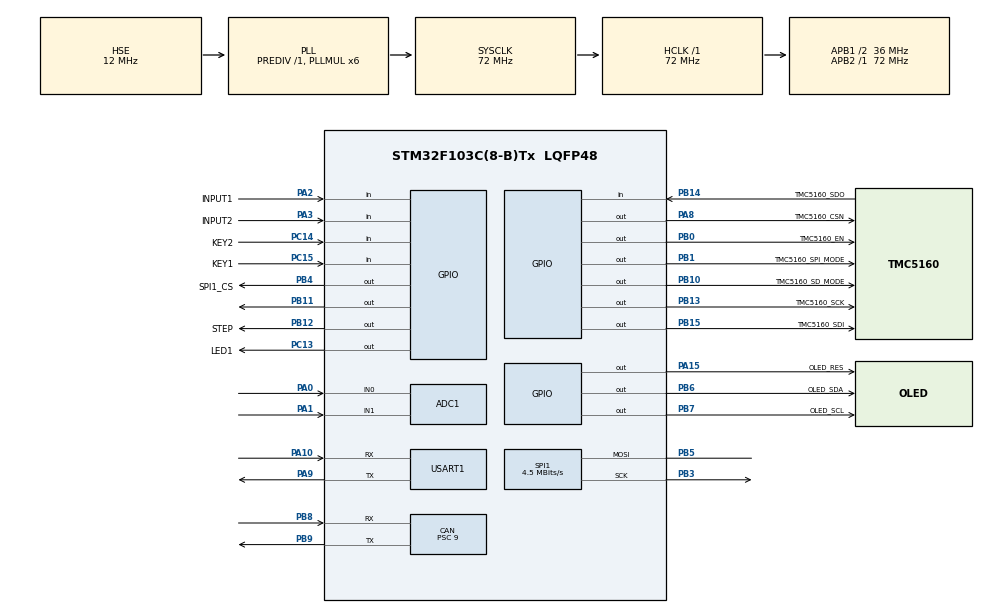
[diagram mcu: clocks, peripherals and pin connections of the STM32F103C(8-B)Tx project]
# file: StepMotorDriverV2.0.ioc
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ADC1.Channel-0\#ChannelRegularConversion=ADC_CHANNEL_0
ADC1.NbrOfConversionFlag=1
ADC1.Rank-0\#ChannelRegularConversion=1
ADC1.SamplingTime-0\#ChannelRegularConversion=ADC_SAMPLETIME_1CYCLE_5
ADC1.master=1
CAN.ABOM=ENABLE
CAN.AWUM=ENABLE
CAN.BS1=CAN_BS1_2TQ
CAN.CalculateBaudRate=1000000
CAN.CalculateTimeBit=1000.00
CAN.CalculateTimeQuantum=250.0
CAN.Prescaler=9
Mcu.Family=STM32F1
Mcu.Name=STM32F103C(8-B)Tx
Mcu.Package=LQFP48
NVIC.CAN1_RX1_IRQn=true\:0\:0\:false\:false\:true\:true\:true
NVIC.PriorityGroup=NVIC_PRIORITYGROUP_4
NVIC.TIM4_IRQn=true\:0\:0\:false\:false\:true\:true\:true
NVIC.USB_LP_CAN1_RX0_IRQn=true\:0\:0\:false\:false\:true\:true\:true
PA0-WKUP.Signal=ADCx_IN0
PA1.Signal=ADCx_IN1
PA10.Mode=Asynchronous
PA10.Signal=USART1_RX
PA11.Signal=USB_DM
PA12.Signal=USB_DP
PA13.Mode=Serial_Wire
PA13.Signal=SYS_JTMS-SWDIO
PA14.Mode=Serial_Wire
PA14.Signal=SYS_JTCK-SWCLK
PA15.GPIO_Label=OLED_RES
PA15.GPIO_PuPd=GPIO_PULLUP
PA15.Signal=GPIO_Output
PA2.GPIO_Label=INPUT1
PA2.GPIO_PuPd=GPIO_PULLUP
PA2.Signal=GPIO_Input
PA3.GPIO_Label=INPUT2
PA3.GPIO_PuPd=GPIO_PULLUP
PA3.Signal=GPIO_Input
PA8.GPIO_Label=TMC5160_CSN
PA8.Signal=GPIO_Output
PA9.Mode=Asynchronous
PA9.Signal=USART1_TX
PB0.GPIO_Label=TMC5160_EN
PB0.Signal=GPIO_Output
PB1.GPIO_Label=TMC5160_SPI_MODE
PB1.Signal=GPIO_Output
PB10.GPIO_Label=TMC5160_SD_MODE
PB10.Signal=GPIO_Output
PB11.Signal=GPIO_Output
PB12.GPIO_Label=STEP
PB12.Signal=GPIO_Output
PB13.GPIO_Label=TMC5160_SCK
PB13.PinState=GPIO_PIN_SET
PB13.Signal=GPIO_Output
PB14.GPIO_Label=TMC5160_SDO
PB14.Signal=GPIO_Input
PB15.GPIO_Label=TMC5160_SDI
PB15.Signal=GPIO_Output
PB3.Mode=Simplex_Bidirectional_Master
PB3.Signal=SPI1_SCK
PB4.GPIO_Label=SPI1_CS
PB4.Signal=GPIO_Output
PB5.Mode=Simplex_Bidirectional_Master
PB5.Signal=SPI1_MOSI
PB6.GPIO_Label=OLED_SDA
PB6.GPIO_ModeDefaultOutputPP=GPIO_MODE_OUTPUT_OD
PB6.GPIO_PuPd=GPIO_PULLUP
PB6.PinState=GPIO_PIN_RESET
PB6.Signal=GPIO_Output
PB7.GPIO_Label=OLED_SCL
PB7.GPIO_ModeDefaultOutputPP=GPIO_MODE_OUTPUT_OD
PB7.GPIO_PuPd=GPIO_PULLUP
PB7.PinState=GPIO_PIN_RESET
PB7.Signal=GPIO_Output
PB8.Mode=CAN_Activate
PB8.Signal=CAN_RX
PB9.Mode=CAN_Activate
PB9.Signal=CAN_TX
PC13-TAMPER-RTC.GPIO_Label=LED1
PC13-TAMPER-RTC.Signal=GPIO_Output
PC14-OSC32_IN.GPIO_Label=KEY2
PC14-OSC32_IN.GPIO_PuPd=GPIO_PULLUP
PC14-OSC32_IN.Signal=GPIO_Input
PC15-OSC32_OUT.GPIO_Label=KEY1
PC15-OSC32_OUT.GPIO_PuPd=GPIO_PULLUP
PC15-OSC32_OUT.Signal=GPIO_Input
PD0-OSC_IN.Mode=HSE-External-Oscillator
PD0-OSC_IN.Signal=RCC_OSC_IN
PD1-OSC_OUT.Mode=HSE-External-Oscillator
PD1-OSC_OUT.Signal=RCC_OSC_OUT
ProjectManager.HeapSize=0x200
ProjectManager.StackSize=0x400
ProjectManager.TargetToolchain=MDK-ARM V5
RCC.ADCPresc=RCC_ADCPCLK2_DIV6
RCC.AHBFreq_Value=72000000
RCC.APB1CLKDivider=RCC_HCLK_DIV2
RCC.APB1Freq_Value=36000000
RCC.APB1TimFreq_Value=72000000
RCC.APB2Freq_Value=72000000
RCC.APB2TimFreq_Value=72000000
RCC.HCLKFreq_Value=72000000
RCC.HSE_VALUE=12000000
RCC.PLLMUL=RCC_PLL_MUL6
RCC.PLLSourceVirtual=RCC_PLLSOURCE_HSE
RCC.SYSCLKFreq_VALUE=72000000
RCC.SYSCLKSource=RCC_SYSCLKSOURCE_PLLCLK
RCC.USBFreq_Value=48000000
RCC.USBPrescaler=RCC_USBCLKSOURCE_PLL_DIV1_5
SH.ADCx_IN0.0=ADC1_IN0,IN0
SH.ADCx_IN1.0=ADC1_IN1,IN1
SPI1.BaudRatePrescaler=SPI_BAUDRATEPRESCALER_16
SPI1.CLKPhase=SPI_PHASE_2EDGE
SPI1.CalculateBaudRate=4.5 MBits/s
SPI1.DataSize=SPI_DATASIZE_16BIT
SPI1.Direction=SPI_DIRECTION_1LINE
SPI1.Mode=SPI_MODE_MASTER
SPI1.VirtualType=VM_MASTER
TIM4.AutoReloadPreload=TIM_AUTORELOAD_PRELOAD_ENABLE
TIM4.Period=1000-1
TIM4.Prescaler=72-1
USART1.VirtualMode=VM_ASYNC
VP_TIM4_VS_ClockSourceINT.Mode=Internal
board=custom

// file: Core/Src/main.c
/* USER CODE BEGIN Header */
/**
  ******************************************************************************
  * @file           : main.c
  * @brief          : Main program body
  ******************************************************************************
  * @attention
  *
  * <h2><center>&copy; Copyright (c) 2022 STMicroelectronics.
  * All rights reserved.</center></h2>
  *
  * This software component is licensed by ST under BSD 3-Clause license,
  * the "License"; You may not use this file except in compliance with the
  * License. You may obtain a copy of the License at:
  *                        opensource.org/licenses/BSD-3-Clause
  *
  ******************************************************************************
  */
/* USER CODE END Header */
#include "main.h"

/* USER CODE BEGIN Includes */
#include "oled_driver.h"
#include "oled_config.h"
#include "oled_basic.h"
#include "oled_font.h"
#include "oled_draw.h"
#include "test.h"
#include "TMC5160_Register.h"
#include "TMC5160_Mask_Shift.h"
#include "SPI_TMC.h"
#include "TMC5160.h"
#include "multi_button.h"
/* USER CODE END Includes */

/* USER CODE BEGIN PTD */
#define CAN_ID                  0x123
#define DEVICE_ID               0x01
#define GEAR                    1
#define RAD_TO_PUl              8153
typedef enum
{
    fsm_rt_err          = -1,    //!< fsm error, error code can be get from other interface
    fsm_rt_cpl          = 0,     //!< fsm complete
    fsm_rt_on_going     = 1,     //!< fsm on-going
} fsm_rt_t;

typedef struct
{
    uint16_t		State;    	//0stop   1speed   2 position
    int32_t			Speed;
    int32_t  		Position;
    uint16_t		Gear;
    int32_t         Torque;
} MotorControl_TypDef;

typedef struct
{
    float		Kp;
    float		Ki;
    float  	Kd;
		uint32_t Target;
		uint32_t Input;
    int32_t Err;
    float ErrLimit_Max;
    int32_t ErrNext;
    float ErrLast;
    float IntegralValue;
    int32_t ResultValue;
    int32_t ResultLimit_Max;
    int32_t ResultLimit_Min;
		int32_t ZeroThreshold;
		int32_t ResultUpLimit;
		int32_t ResultLast;
} Pid_TypDef;

typedef struct
{
    int16_t		Max;
    int16_t		Min;
} Limit_TypDef;

typedef union
{
    uint8_t  	U8[80];
    uint16_t 	U16[40];
    int16_t 	I16[40];
    uint32_t 	U32[20];
    int32_t 	I32[20];
    double  	D64[10];
    uint64_t  U64[10];
} Register_TypDef;
#define SPI_CS_HIGH_SIDE_ENCODER_ENABLE()  			HAL_GPIO_WritePin(SPI1_CS_GPIO_Port, SPI1_CS_Pin, GPIO_PIN_RESET);
#define SPI_CS_HIGH_SIDE_ENCODER_DISABLE() 			HAL_GPIO_WritePin(SPI1_CS_GPIO_Port, SPI1_CS_Pin, GPIO_PIN_SET);
/* USER CODE END PTD */

/* USER CODE BEGIN PD */

#define RESET_FSM()             do { s_tState = START; } while(0)
#define FALSE 			        0
#define TRUE 				    1
#define ABS(__N)                ((__N)<0?-(__N):(__N))
#define OLED_STOP               do { HAL_GPIO_WritePin(OLED_RES_GPIO_Port, OLED_RES_Pin, GPIO_PIN_RESET); } while(0)
#define OLED_START()            do { HAL_GPIO_WritePin(OLED_RES_GPIO_Port, OLED_RES_Pin, GPIO_PIN_SET); } while(0)

/* USER CODE END PD */

ADC_HandleTypeDef hadc1;

CAN_HandleTypeDef hcan;

SPI_HandleTypeDef hspi1;

TIM_HandleTypeDef htim4;

UART_HandleTypeDef huart1;

/* USER CODE BEGIN PV */
uint16_t g_bTime_1ms = 0;
uint16_t g_bTime_5ms = 0;
uint16_t g_bTime_100ms = 0;
uint16_t g_bTime_500ms = 0;
uint16_t g_bTime_1s;
uint16_t g_bFindZero = 0;

uint16_t g_Time_ms = 0;
uint16_t g_bInput[2] = {0};
uint16_t g_bKey[2] = {0};
//uint16_t g_AngleHighSide_New = 0;
uint16_t g_AngleHighSide_Old = 0;
int16_t g_Speed[8];

//new add-----
uint16_t g_AngleHighSide_Circle = 1000;
uint16_t g_AngleHighSide_New = 16000;
int16_t g_AngleHighSide_Threshold = 1000;
int32_t g_AngleHighSide_All;
int16_t g_MotorID;
uint32_t g_CanResiveNum = 0;
int8_t g_SpeedMod = 0;
int16_t g_SpeedRecord = 0;
//------------

uint16_t g_CANRxFlag = 0;
CAN_TxHeaderTypeDef TXHeader;
CAN_RxHeaderTypeDef RXHeader;

uint8_t TXmessage[8] = {0x00, 0x11, 0x22, 0x33, 0x44, 0x55, 0x66, 0x77};
uint8_t RXmessage[8];
uint8_t MotorErr;
uint32_t pTxMailbox = 0;
uint32_t g_TMC5160_XACTUAL;
uint32_t g_TMC5160_VACTUAL;

uint32_t addr = 0x08008000;

Register_TypDef g_RxData = {0};
Register_TypDef g_Register = {0};
Pid_TypDef P_PID;
Pid_TypDef V_PID;
Pid_TypDef C_PID;

Limit_TypDef P_LIMIT;
Limit_TypDef V_LIMIT;
Limit_TypDef C_LIMIT;

MotorControl_TypDef g_MotorControlRegister = {0,0,0,14};

int Sfl_temp1, Sfl_temp2;
int32_t Sfl_temp3 = 0;

enum Button_IDs
{
    btn1_id,
    btn2_id,
};
struct Button btn1;
struct Button btn2;
/* USER CODE END PV */

void SystemClock_Config(void);
static void MX_GPIO_Init(void);
static void MX_ADC1_Init(void);
static void MX_CAN_Init(void);
static void MX_USART1_UART_Init(void);
static void MX_TIM4_Init(void);
static void MX_SPI1_Init(void);
/* USER CODE BEGIN PFP */
void Task_CAN(void);
void Task_Control(void);
void Task_OLED(void);
void Task_Key(void);
void Task_FindZero(void);
void Task_Detection(void);
uint8_t read_button_GPIO(uint8_t button_id);
void BTN1_PRESS_DOWN_Handler(void* btn);
void BTN1_PRESS_UP_Handler(void* btn);
void BTN1_PRESS_REPEAT_Handler(void* btn);
void BTN1_SINGLE_Click_Handler(void* btn);
void BTN1_DOUBLE_Click_Handler(void* btn);
void BTN1_LONG_PRESS_START_Handler(void* btn);
void BTN1_LONG_PRESS_HOLD_Handler(void* btn);

void BTN2_PRESS_DOWN_Handler(void* btn);
void BTN2_PRESS_UP_Handler(void* btn);
void BTN2_PRESS_REPEAT_Handler(void* btn);
void BTN2_SINGLE_Click_Handler(void* btn);
void BTN2_DOUBLE_Click_Handler(void* btn);
void BTN2_LONG_PRESS_START_Handler(void* btn);
void BTN2_LONG_PRESS_HOLD_Handler(void* btn);

void ReadEncoder_SPI_HighSide(void);

//new add-----
void P_PID_Init(void);
int32_t Rad2Motor(float Rad);
float Motor2Rad(int32_t motor);
//------------

//void BTN2_PRESS_DOWN_Handler(void* btn)
/* USER CODE END PFP */

int testNum1 = 0;
int testNum2 = 0;
int main(void)
{

    /* MCU Configuration--------------------------------------------------------*/

    /* Reset of all peripherals, Initializes the Flash interface and the Systick. */
    HAL_Init();

    /* Configure the system clock */
    SystemClock_Config();

    /* Initialize all configured peripherals */
    MX_GPIO_Init();
    MX_ADC1_Init();
    MX_CAN_Init();
    MX_USART1_UART_Init();
    MX_TIM4_Init();
    MX_SPI1_Init();
    /* USER CODE BEGIN 2 */
    HAL_TIM_Base_Start_IT(&htim4);
    /* USER CODE END 2 */

    /* Infinite loop */
    /* USER CODE BEGIN WHILE */
    OLED_START();

    HAL_Delay(100);
    InitGraph();
    HAL_Delay(100);

    HAL_GPIO_WritePin(TMC5160_SPI_MODE_GPIO_Port, TMC5160_SPI_MODE_Pin, GPIO_PIN_SET);
    HAL_GPIO_WritePin(TMC5160_SD_MODE_GPIO_Port, TMC5160_SD_MODE_Pin, GPIO_PIN_RESET);
    HAL_Delay(100);
    HAL_GPIO_WritePin(TMC5160_EN_GPIO_Port, TMC5160_EN_Pin, GPIO_PIN_RESET);
    HAL_Delay(100);

//    MotorTmc5160[motor1].Axis.speed = 5; //尽量设置不要超过12

//	tmc5160_SetPara(&MotorTmc5160[motor1],256,4,10,\
//	5,0,0,10000,MotorTmc5160[motor1].Axis.speed,\
//	10000,500,10,motor1);
//	tmc5160_InitConfig(&MotorTmc5160[motor1],motor1);

    tmc_spi_writeregister(motor1, 0xEC - 0x80, 0x000100C3);
    tmc_spi_writeregister(motor1, 0x90 - 0x80, 0x00060C0A);
    tmc_spi_writeregister(motor1, 0x91 - 0x80, 0x0000000A);
    tmc_spi_writeregister(motor1, 0x80 - 0x80, 0x00000004);
    tmc_spi_writeregister(motor1, 0x93 - 0x80, 0x000001A4);    //tmc_spi_writeregister(motor1, 0x93 - 0x80, 0x000001F4);

    tmc_spi_writeregister(motor1, 0xA4 - 0x80, 1000 ); 			//A1
    tmc_spi_writeregister(motor1, 0xA5 - 0x80, 0    ); 			//V1
    tmc_spi_writeregister(motor1, 0xA6 - 0x80, 30000 ); 			//AMAX
    tmc_spi_writeregister(motor1, 0xA7 - 0x80, 0    ); 	    	//VMAX
    tmc_spi_writeregister(motor1, 0xA8 - 0x80, 30000 ); 			//DMAX
    tmc_spi_writeregister(motor1, 0xAA - 0x80, 1400 ); 			//D1
    tmc_spi_writeregister(motor1, 0xAB - 0x80, 10   ); 			//VSTOP
//tmc_spi_writeregister(motor1,0xA0-0x80,0x00000000); 			//位置模式
    tmc_spi_writeregister(motor1, 0xA0 - 0x80, 0x00000001);     //速度模式

    tmc_spi_writeregister(motor1,TMC5160_XACTUAL,0x00000000);
//////////CAN//////////////
    CAN_FilterTypeDef can_Filter = {0};

    can_Filter.FilterIdHigh = 0;
    can_Filter.FilterIdLow = 0;
    can_Filter.FilterMaskIdHigh = 0;
    can_Filter.FilterMaskIdLow = 0;
    can_Filter.FilterFIFOAssignment = CAN_FILTER_FIFO0;
    can_Filter.FilterBank = 0;
    can_Filter.FilterMode = CAN_FILTERMODE_IDMASK;
    can_Filter.FilterScale = CAN_FILTERSCALE_32BIT;
    can_Filter.FilterActivation = CAN_FILTER_ENABLE;
    HAL_CAN_ConfigFilter(&hcan, &can_Filter);
    HAL_CAN_ActivateNotification(&hcan, CAN_IT_RX_FIFO0_MSG_PENDING);
    HAL_CAN_Start(&hcan);
/////////////////////////////////////////////////////////////////////

    button_init(&btn1, read_button_GPIO, 0, btn1_id);
    button_init(&btn2, read_button_GPIO, 0, btn2_id);

    button_attach(&btn1, PRESS_DOWN,       BTN1_PRESS_DOWN_Handler);
    button_attach(&btn1, PRESS_UP,         BTN1_PRESS_UP_Handler);
    button_attach(&btn1, PRESS_REPEAT,     BTN1_PRESS_REPEAT_Handler);
    button_attach(&btn1, SINGLE_CLICK,     BTN1_SINGLE_Click_Handler);
    button_attach(&btn1, DOUBLE_CLICK,     BTN1_DOUBLE_Click_Handler);
    button_attach(&btn1, LONG_PRESS_START, BTN1_LONG_PRESS_START_Handler);
    button_attach(&btn1, LONG_PRESS_HOLD,  BTN1_LONG_PRESS_HOLD_Handler);

    button_attach(&btn2, PRESS_DOWN,       BTN2_PRESS_DOWN_Handler);
    button_attach(&btn2, PRESS_UP,         BTN2_PRESS_UP_Handler);
    button_attach(&btn2, PRESS_REPEAT,     BTN2_PRESS_REPEAT_Handler);
    button_attach(&btn2, SINGLE_CLICK,     BTN2_SINGLE_Click_Handler);
    button_attach(&btn2, DOUBLE_CLICK,     BTN2_DOUBLE_Click_Handler);
    button_attach(&btn2, LONG_PRESS_START, BTN2_LONG_PRESS_START_Handler);
    button_attach(&btn2, LONG_PRESS_HOLD,  BTN2_LONG_PRESS_HOLD_Handler);

    button_start(&btn1);
    button_start(&btn2);
//    g_MotorControlRegister.Speed = 200000;
//////////////////////////////////////////////////////////////////////

//    HAL_Delay(DEVICE_ID * 1000);
		g_MotorID = 7;
		P_PID_Init();
//		P_PID.Target = g_AngleHighSide_All+100000;
		P_PID.Target = g_AngleHighSide_All;
//		g_MotorControlRegister.State = 1;
//		g_MotorControlRegister.Speed = 300000;
//		tmc_spi_writeregister(motor1, 0xA7 - 0x80, 10000); //VMAX
//    tmc_spi_writeregister(motor1, 0xA0 - 0x80, 2); //速度模式

    while (1)
    {
        if(g_bTime_1ms == 1)
        {
           g_bTime_1ms = 0;

//					TXmessage[0] = 0x43;
//					TXmessage[1] = 0x71;
//					TXmessage[2] = 0x60;
//					TXmessage[3] = 0x00;

//					TXmessage[4] = 01;

//					TXmessage[5] = 00;
//					TXmessage[6] = 00;
//					TXmessage[7] = 00;
//					TXHeader.StdId = 0X580 + g_MotorID;

//					TXHeader.DLC = 8;
//					TXHeader.IDE = CAN_ID_STD;
//					TXHeader.RTR = CAN_RTR_DATA;
//					TXHeader.TransmitGlobalTime = DISABLE;
//					HAL_CAN_AddTxMessage(&hcan,&TXHeader,TXmessage,&pTxMailbox);

          ReadEncoder_SPI_HighSide();

            Task_CAN();

            Task_Control();

            g_TMC5160_XACTUAL = tmc_spi_readregister(motor1,TMC5160_XACTUAL);
//		HAL_Delay(2000);
//
//		g_MotorControlRegister.State = 2;
//		g_MotorControlRegister.Position = -151200;
//
//            Task_Control();
//						 Task_Control();

//		HAL_Delay(2000);

        }
    }

    /* USER CODE END 3 */
}

void SystemClock_Config(void)
{
    RCC_OscInitTypeDef RCC_OscInitStruct = {0};
    RCC_ClkInitTypeDef RCC_ClkInitStruct = {0};
    RCC_PeriphCLKInitTypeDef PeriphClkInit = {0};

    /** Initializes the RCC Oscillators according to the specified parameters
    * in the RCC_OscInitTypeDef structure.
    */
    RCC_OscInitStruct.OscillatorType = RCC_OSCILLATORTYPE_HSE;
    RCC_OscInitStruct.HSEState = RCC_HSE_ON;
    RCC_OscInitStruct.HSEPredivValue = RCC_HSE_PREDIV_DIV1;
    RCC_OscInitStruct.HSIState = RCC_HSI_ON;
    RCC_OscInitStruct.PLL.PLLState = RCC_PLL_ON;
    RCC_OscInitStruct.PLL.PLLSource = RCC_PLLSOURCE_HSE;
    RCC_OscInitStruct.PLL.PLLMUL = RCC_PLL_MUL6;
    if (HAL_RCC_OscConfig(&RCC_OscInitStruct) != HAL_OK)
    {
        Error_Handler();
    }
    /** Initializes the CPU, AHB and APB buses clocks
    */
    RCC_ClkInitStruct.ClockType = RCC_CLOCKTYPE_HCLK|RCC_CLOCKTYPE_SYSCLK
                                  |RCC_CLOCKTYPE_PCLK1|RCC_CLOCKTYPE_PCLK2;
    RCC_ClkInitStruct.SYSCLKSource = RCC_SYSCLKSOURCE_PLLCLK;
    RCC_ClkInitStruct.AHBCLKDivider = RCC_SYSCLK_DIV1;
    RCC_ClkInitStruct.APB1CLKDivider = RCC_HCLK_DIV2;
    RCC_ClkInitStruct.APB2CLKDivider = RCC_HCLK_DIV1;

    if (HAL_RCC_ClockConfig(&RCC_ClkInitStruct, FLASH_LATENCY_2) != HAL_OK)
    {
        Error_Handler();
    }
    PeriphClkInit.PeriphClockSelection = RCC_PERIPHCLK_ADC;
    PeriphClkInit.AdcClockSelection = RCC_ADCPCLK2_DIV6;
    if (HAL_RCCEx_PeriphCLKConfig(&PeriphClkInit) != HAL_OK)
    {
        Error_Handler();
    }
}

static void MX_ADC1_Init(void)
{

    ADC_ChannelConfTypeDef sConfig = {0};

    /** Common config
    */
    hadc1.Instance = ADC1;
    hadc1.Init.ScanConvMode = ADC_SCAN_DISABLE;
    hadc1.Init.ContinuousConvMode = DISABLE;
    hadc1.Init.DiscontinuousConvMode = DISABLE;
    hadc1.Init.ExternalTrigConv = ADC_SOFTWARE_START;
    hadc1.Init.DataAlign = ADC_DATAALIGN_RIGHT;
    hadc1.Init.NbrOfConversion = 1;
    if (HAL_ADC_Init(&hadc1) != HAL_OK)
    {
        Error_Handler();
    }
    /** Configure Regular Channel
    */
    sConfig.Channel = ADC_CHANNEL_0;
    sConfig.Rank = ADC_REGULAR_RANK_1;
    sConfig.SamplingTime = ADC_SAMPLETIME_1CYCLE_5;
    if (HAL_ADC_ConfigChannel(&hadc1, &sConfig) != HAL_OK)
    {
        Error_Handler();
    }

}

static void MX_CAN_Init(void)
{

    hcan.Instance = CAN1;
		hcan.Init.Prescaler = 9;
		hcan.Init.Mode = CAN_MODE_NORMAL;
		hcan.Init.SyncJumpWidth = CAN_SJW_1TQ;
		hcan.Init.TimeSeg1 = CAN_BS1_4TQ;
		hcan.Init.TimeSeg2 = CAN_BS2_3TQ;
		hcan.Init.TimeTriggeredMode = DISABLE;
		hcan.Init.AutoBusOff = ENABLE;
		hcan.Init.AutoWakeUp = ENABLE;
		hcan.Init.AutoRetransmission = DISABLE;
		hcan.Init.ReceiveFifoLocked = DISABLE;
		hcan.Init.TransmitFifoPriority = DISABLE;
		if (HAL_CAN_Init(&hcan) != HAL_OK)
		{
			Error_Handler();
		}
    /* USER CODE BEGIN CAN_Init 2 */
    __HAL_CAN_ENABLE_IT(&hcan, CAN_IT_RX_FIFO0_MSG_PENDING);//使能can中断
    //  CAN_ITConfig(CAN1,CAN_IT_FMP0,ENABLE);//FIFO0消息挂号中断允许.
    //CAN_ITConfig(CAN1, CAN_IT_FMP1, ENABLE);

    //buffer init
//  Can_FifoBuf_Init(&gpmag_rx, mag_rxbuffer, MAG_RXBUFFER_SIZE);

    /* USER CODE END CAN_Init 2 */

}

static void MX_SPI1_Init(void)
{

    /* SPI1 parameter configuration*/
    hspi1.Instance = SPI1;
    hspi1.Init.Mode = SPI_MODE_MASTER;
    hspi1.Init.Direction = SPI_DIRECTION_1LINE;
    hspi1.Init.DataSize = SPI_DATASIZE_16BIT;
    hspi1.Init.CLKPolarity = SPI_POLARITY_LOW;
    hspi1.Init.CLKPhase = SPI_PHASE_2EDGE;
    hspi1.Init.NSS = SPI_NSS_SOFT;
    hspi1.Init.BaudRatePrescaler = SPI_BAUDRATEPRESCALER_16;
    hspi1.Init.FirstBit = SPI_FIRSTBIT_MSB;
    hspi1.Init.TIMode = SPI_TIMODE_DISABLE;
    hspi1.Init.CRCCalculation = SPI_CRCCALCULATION_DISABLE;
    hspi1.Init.CRCPolynomial = 10;
    if (HAL_SPI_Init(&hspi1) != HAL_OK)
    {
        Error_Handler();
    }

}

static void MX_TIM4_Init(void)
{

    TIM_ClockConfigTypeDef sClockSourceConfig = {0};
    TIM_MasterConfigTypeDef sMasterConfig = {0};

    htim4.Instance = TIM4;
    htim4.Init.Prescaler = 72-1;
    htim4.Init.CounterMode = TIM_COUNTERMODE_UP;
    htim4.Init.Period = 1000-1;
    htim4.Init.ClockDivision = TIM_CLOCKDIVISION_DIV1;
    htim4.Init.AutoReloadPreload = TIM_AUTORELOAD_PRELOAD_ENABLE;
    if (HAL_TIM_Base_Init(&htim4) != HAL_OK)
    {
        Error_Handler();
    }
    sClockSourceConfig.ClockSource = TIM_CLOCKSOURCE_INTERNAL;
    if (HAL_TIM_ConfigClockSource(&htim4, &sClockSourceConfig) != HAL_OK)
    {
        Error_Handler();
    }
    sMasterConfig.MasterOutputTrigger = TIM_TRGO_RESET;
    sMasterConfig.MasterSlaveMode = TIM_MASTERSLAVEMODE_DISABLE;
    if (HAL_TIMEx_MasterConfigSynchronization(&htim4, &sMasterConfig) != HAL_OK)
    {
        Error_Handler();
    }

}

static void MX_USART1_UART_Init(void)
{

    huart1.Instance = USART1;
    huart1.Init.BaudRate = 115200;
    huart1.Init.WordLength = UART_WORDLENGTH_8B;
    huart1.Init.StopBits = UART_STOPBITS_1;
    huart1.Init.Parity = UART_PARITY_NONE;
    huart1.Init.Mode = UART_MODE_TX_RX;
    huart1.Init.HwFlowCtl = UART_HWCONTROL_NONE;
    huart1.Init.OverSampling = UART_OVERSAMPLING_16;
    if (HAL_UART_Init(&huart1) != HAL_OK)
    {
        Error_Handler();
    }

}

static void MX_GPIO_Init(void)
{
    GPIO_InitTypeDef GPIO_InitStruct = {0};

    /* GPIO Ports Clock Enable */
    __HAL_RCC_GPIOC_CLK_ENABLE();
    __HAL_RCC_GPIOD_CLK_ENABLE();
    __HAL_RCC_GPIOA_CLK_ENABLE();
    __HAL_RCC_GPIOB_CLK_ENABLE();

    /*Configure GPIO pin Output Level */
    HAL_GPIO_WritePin(LED1_GPIO_Port, LED1_Pin, GPIO_PIN_RESET);

    /*Configure GPIO pin Output Level */
    HAL_GPIO_WritePin(GPIOB, TMC5160_EN_Pin|TMC5160_SPI_MODE_Pin|TMC5160_SD_MODE_Pin|GPIO_PIN_11
                      |STEP_Pin|TMC5160_SDI_Pin|SPI1_CS_Pin|OLED_SDA_Pin
                      |OLED_SCL_Pin, GPIO_PIN_RESET);

    /*Configure GPIO pin Output Level */
    HAL_GPIO_WritePin(TMC5160_SCK_GPIO_Port, TMC5160_SCK_Pin, GPIO_PIN_SET);

    /*Configure GPIO pin Output Level */
    HAL_GPIO_WritePin(GPIOA, TMC5160_CSN_Pin|OLED_RES_Pin, GPIO_PIN_RESET);

    /*Configure GPIO pin : LED1_Pin */
    GPIO_InitStruct.Pin = LED1_Pin;
    GPIO_InitStruct.Mode = GPIO_MODE_OUTPUT_PP;
    GPIO_InitStruct.Pull = GPIO_NOPULL;
    GPIO_InitStruct.Speed = GPIO_SPEED_FREQ_LOW;
    HAL_GPIO_Init(LED1_GPIO_Port, &GPIO_InitStruct);

    /*Configure GPIO pins : KEY2_Pin KEY1_Pin */
    GPIO_InitStruct.Pin = KEY2_Pin|KEY1_Pin;
    GPIO_InitStruct.Mode = GPIO_MODE_INPUT;
    GPIO_InitStruct.Pull = GPIO_PULLUP;
    HAL_GPIO_Init(GPIOC, &GPIO_InitStruct);

    /*Configure GPIO pins : INPUT1_Pin INPUT2_Pin */
    GPIO_InitStruct.Pin = INPUT1_Pin|INPUT2_Pin;
    GPIO_InitStruct.Mode = GPIO_MODE_INPUT;
    GPIO_InitStruct.Pull = GPIO_PULLUP;
    HAL_GPIO_Init(GPIOA, &GPIO_InitStruct);

    /*Configure GPIO pins : TMC5160_EN_Pin TMC5160_SPI_MODE_Pin TMC5160_SD_MODE_Pin PB11
                             STEP_Pin TMC5160_SCK_Pin TMC5160_SDI_Pin SPI1_CS_Pin */
    GPIO_InitStruct.Pin = TMC5160_EN_Pin|TMC5160_SPI_MODE_Pin|TMC5160_SD_MODE_Pin|GPIO_PIN_11
                          |STEP_Pin|TMC5160_SCK_Pin|TMC5160_SDI_Pin|SPI1_CS_Pin;
    GPIO_InitStruct.Mode = GPIO_MODE_OUTPUT_PP;
    GPIO_InitStruct.Pull = GPIO_NOPULL;
    GPIO_InitStruct.Speed = GPIO_SPEED_FREQ_LOW;
    HAL_GPIO_Init(GPIOB, &GPIO_InitStruct);

    /*Configure GPIO pin : TMC5160_SDO_Pin */
    GPIO_InitStruct.Pin = TMC5160_SDO_Pin;
    GPIO_InitStruct.Mode = GPIO_MODE_INPUT;
    GPIO_InitStruct.Pull = GPIO_NOPULL;
    HAL_GPIO_Init(TMC5160_SDO_GPIO_Port, &GPIO_InitStruct);

    /*Configure GPIO pin : TMC5160_CSN_Pin */
    GPIO_InitStruct.Pin = TMC5160_CSN_Pin;
    GPIO_InitStruct.Mode = GPIO_MODE_OUTPUT_PP;
    GPIO_InitStruct.Pull = GPIO_NOPULL;
    GPIO_InitStruct.Speed = GPIO_SPEED_FREQ_LOW;
    HAL_GPIO_Init(TMC5160_CSN_GPIO_Port, &GPIO_InitStruct);

    /*Configure GPIO pin : OLED_RES_Pin */
    GPIO_InitStruct.Pin = OLED_RES_Pin;
    GPIO_InitStruct.Mode = GPIO_MODE_OUTPUT_PP;
    GPIO_InitStruct.Pull = GPIO_PULLUP;
    GPIO_InitStruct.Speed = GPIO_SPEED_FREQ_LOW;
    HAL_GPIO_Init(OLED_RES_GPIO_Port, &GPIO_InitStruct);

    /*Configure GPIO pins : OLED_SDA_Pin OLED_SCL_Pin */
    GPIO_InitStruct.Pin = OLED_SDA_Pin|OLED_SCL_Pin;
    GPIO_InitStruct.Mode = GPIO_MODE_OUTPUT_OD;
    GPIO_InitStruct.Pull = GPIO_PULLUP;
    GPIO_InitStruct.Speed = GPIO_SPEED_FREQ_LOW;
    HAL_GPIO_Init(GPIOB, &GPIO_InitStruct);

}

/* USER CODE BEGIN 4 */
void HAL_TIM_PeriodElapsedCallback(TIM_HandleTypeDef *htim)
{
    static uint16_t i, ii, iii, iiii;					//06.23

    if(htim->Instance == htim4.Instance)
    {
        g_bTime_1ms = 1;
        g_Time_ms++;
        i++;
        ii++;
        iii++;
        iiii++;

        if(i == 5)
        {
            i = 0;
            g_bTime_5ms		=	1;
        }

        if(ii == 100)
        {
            ii = 0;
            g_bTime_100ms	=	1;
        }

        if(iii == 100)
        {
            iii = 0;
            g_bTime_500ms	=	1;
        }

        if(iiii == 1000)
        {
            iiii = 0;
            g_bTime_1s		=	1;
        }

        OledTimeMsFunc();	//实时时间-- 到0为止
//        if(i==2000) {
//            i=0;
//            if(HAL_GPIO_ReadPin(KEY1_GPIO_Port, KEY1_Pin) == 0)Sfl_temp3 = Sfl_temp3+20000;
//            if(HAL_GPIO_ReadPin(KEY2_GPIO_Port, KEY2_Pin) == 0)Sfl_temp3 = Sfl_temp3-20000;
//            if(Sfl_temp3==40000)Sfl_temp3=300000;
//            if(Sfl_temp3==-40000)Sfl_temp3=-300000;
//            if(Sfl_temp3==280000)Sfl_temp3=20000;
//            if(Sfl_temp3==-280000)Sfl_temp3=-20000;

//            if(Sfl_temp3>=0) {
//                tmc_spi_writeregister(motor1,0xA0-0x80,1); //速度模式
//                tmc_spi_writeregister(motor1,0xA7-0x80,Sfl_temp3); //VMAX
//            } else if(Sfl_temp3<0) {
//                tmc_spi_writeregister(motor1,0xA0-0x80,2); //速度模式
//                tmc_spi_writeregister(motor1,0xA7-0x80,-Sfl_temp3); //VMAX
//            }
//        }
    }
}

void HAL_CAN_RxFifo0MsgPendingCallback(CAN_HandleTypeDef *hcan)
{
    if(hcan->Instance == CAN1)
    {
        HAL_CAN_GetRxMessage(hcan, CAN_FILTER_FIFO0, &RXHeader, RXmessage); //获取数据
				g_CANRxFlag = 1;
//        if( RXHeader.StdId ==  DEVICE_ID)
//        {
//            g_CANRxFlag = 1;
//        }
        HAL_CAN_ActivateNotification(hcan,CAN_IT_RX_FIFO0_MSG_PENDING);//再次开启接收中断
    }
}

//void CAN1_RX0_IRQHandler(void) {
//HAL_CAN_IRQHandler(&hcan);
//}
//void HAL_CAN_RxFifo0MsgPendingCallback(CAN_HandleTypeDef *CanHandle)
//{
///* Get RX message */
//if (HAL_CAN_GetRxMessage(CanHandle, CAN_RX_FIFO0, &RxHeader, can_msg.rx_msg) != HAL_OK)
//{
//Error_Handler(); }
//can_msg.ID = RxHeader.StdId; // ???????
//can_msg.length = RxHeader.DLC; // ??????
//CAN_SetRxFlag(1); // ???????
//}

void P_PID_Init(void)
{
	P_PID.Kp = 30;
	P_PID.Ki = 0;
	P_PID.Kd = 0;

	ReadEncoder_SPI_HighSide();
	//P_PID.Target = g_AngleLowSide_New;
	P_PID.Target = g_AngleHighSide_All;
	P_PID.ResultLimit_Max = 100000;
	P_PID.ResultLimit_Min = -P_PID.ResultLimit_Max;
	P_PID.ErrNext = 0;
	P_PID.ZeroThreshold = 50;//5
	P_PID.ResultUpLimit = 10000;
	P_PID.ResultLast = 0;
}

int32_t Rad2Motor(float Rad)
{
	int32_t motor;
	motor = Rad * 16384 / 3.1415926535 ;
	return motor;
}

float Motor2Rad(int32_t motor)
{
	float Rad;
	Rad = motor * 3.1415926535 / 16384;
	return Rad;
}

void Position2Speed_PID(void)
{
//		P_PID.Input = g_AngleLowSide_New;
		P_PID.Input = g_AngleHighSide_All;
		P_PID.Err = P_PID.Input - P_PID.Target;
		if(P_PID.Err < P_PID.ZeroThreshold && P_PID.Err > -P_PID.ZeroThreshold)
		{
			P_PID.Err = 0;
			g_MotorControlRegister.State = 0;
			g_MotorControlRegister.Speed = 0;
			return;
		}
		P_PID.IntegralValue += P_PID.Err;

    P_PID.ResultValue = P_PID.Kp*P_PID.Err+ \
                      P_PID.Ki* P_PID.IntegralValue - \
                      P_PID.Kd*(P_PID.Err-P_PID.ErrNext);

    if(P_PID.ResultValue>P_PID.ResultLimit_Max)
        P_PID.ResultValue = P_PID.ResultLimit_Max;
    else if(P_PID.ResultValue<P_PID.ResultLimit_Min)
        P_PID.ResultValue = P_PID.ResultLimit_Min;

		if(P_PID.ResultValue < 0)
		{
			if(P_PID.ResultValue - P_PID.ResultLast < -P_PID.ResultUpLimit)
			{
				P_PID.ResultValue = P_PID.ResultLast - P_PID.ResultUpLimit;
			}
		}
		else
		{
			if(P_PID.ResultValue - P_PID.ResultLast > P_PID.ResultUpLimit)
			{
				P_PID.ResultValue = P_PID.ResultLast + P_PID.ResultUpLimit;
			}
		}

    //P_PID.ErrLast=P_PID.ErrNext;
		P_PID.ResultLast = P_PID.ResultValue;
    P_PID.ErrNext    = P_PID.Err;

		g_MotorControlRegister.State = 1;
		g_MotorControlRegister.Speed = P_PID.ResultValue;
}

void Task_CAN(void)
{
		uint16_t u16 = 0;
		int16_t int16 = 0;
		if(g_CANRxFlag == 1)
		{

			g_CanResiveNum ++;
			g_CANRxFlag = 0;
			if(RXHeader.StdId == 0x0600 + g_MotorID)
			{
				g_AngleHighSide_Old += 1;
				switch( RXmessage[2] )
				{
					case 0x60:
						switch( RXmessage[1] )
						{
							case 0x70:
								switch( RXmessage[3] )
								{
									case 0x00:
										switch( RXmessage[0] )
										{
											case 0x2B:
												int16 = (RXmessage[4] + RXmessage[5]*256);
												P_PID.Target = ((((double)int16)*20/1000)/3.14+2000)*32768/2;
												TXmessage[0] = 0x60;
												TXmessage[1] = RXmessage[1];
												TXmessage[2] = RXmessage[2];
												TXmessage[3] = RXmessage[3];
												TXmessage[4] = 00;
												TXmessage[5] = 00;
												TXmessage[6] = 00;
												TXmessage[7] = 00;
												TXHeader.StdId = 0X580 + g_MotorID;
												break;
										}
										break;
								}
								break;
							case 0x71:
								switch( RXmessage[3] )
								{
									case 0x00:
										switch( RXmessage[0] )
										{
											case 0x40:
												TXmessage[0] = 0x43;
												TXmessage[1] = RXmessage[1];
												TXmessage[2] = RXmessage[2];
												TXmessage[3] = RXmessage[3];
												if(g_MotorControlRegister.State == 0)
													TXmessage[4] = 01;
												else
													TXmessage[4] = 00;
												TXmessage[5] = 00;
												TXmessage[6] = 00;
												TXmessage[7] = 00;
												TXHeader.StdId = 0X580 + g_MotorID;
												break;
										}
										break;
								}
								break;
						}
						break;
				}
				TXHeader.DLC = 8;
				TXHeader.IDE = CAN_ID_STD;
				TXHeader.RTR = CAN_RTR_DATA;
				TXHeader.TransmitGlobalTime = DISABLE;
				HAL_CAN_AddTxMessage(&hcan,&TXHeader,TXmessage,&pTxMailbox);
			}

    }
}

void Task_Control(void)
{
		if(!g_SpeedMod)
		{
			Position2Speed_PID();
		}
    static enum
    {
        START  = 0,
        WRITE,
        RESET,
    } s_tState = START;

    switch( s_tState )
    {
    case START:
        if(TRUE)
        {
            s_tState = WRITE;
        }

    case WRITE:
        if(1)
        {

            switch( g_MotorControlRegister.State )
            {
            case 0:
                tmc_spi_writeregister(motor1, 0xA7 - 0x80, 0); //VMAX
                tmc_spi_writeregister(motor1, 0xA0 - 0x80, 1); //速度模式
                break;

            case 1:
                if(g_MotorControlRegister.Speed >= 0)
                {
                    tmc_spi_writeregister(motor1, 0xA7 - 0x80, g_MotorControlRegister.Speed); //VMAX
                    tmc_spi_writeregister(motor1, 0xA0 - 0x80, 2); //速度模式
                }
                else
                {
                    tmc_spi_writeregister(motor1, 0xA7 - 0x80, -g_MotorControlRegister.Speed); //VMAX
                    tmc_spi_writeregister(motor1, 0xA0 - 0x80, 1); //速度模式
                }

                break;

            case 2:

                g_MotorControlRegister.Speed = 10000*g_MotorControlRegister.Gear;
                if((DEVICE_ID == 1)&&(g_MotorControlRegister.Position>465000)) {
                    g_MotorControlRegister.Position = 465000;
                }
                if((DEVICE_ID == 2)&&(g_MotorControlRegister.Position>250000)) {
                    g_MotorControlRegister.Position = 250000;
                }
                tmc_spi_writeregister(motor1, TMC5160_XTARGET, g_MotorControlRegister.Position);
                tmc_spi_writeregister(motor1, 0xA7 - 0x80, g_MotorControlRegister.Speed);
                tmc_spi_writeregister(motor1, 0xA0 - 0x80, 0); //位置模式
                break;
            case 3:
                g_bFindZero = 1;
                break;
            case 4:

                break;
            }

            s_tState = RESET;
        }

        break;

    case RESET:

        RESET_FSM() ;

    }
}

void Task_OLED(void) {
//    static uint16_t s_whTime1, s_whTime2, s_whDelay;
    static enum
    {
        START  = 0,
        WRITE,
        UPDATA,
        RESET,
    } s_tState = START;
    switch( s_tState )
    {
    case START:
        if(TRUE) {
            s_tState = WRITE;
        }
    case WRITE:
        if(TRUE) {
            ClearScreen	(	);
            SetFontSize	(1);
            DrawString	(0, 0, "Pst:");
            //DrawNum			(24, 0, g_MotorControlRegister.Position, 10);
            DrawNum			(24, 0, tmc_spi_readregister(motor1,TMC5160_XACTUAL), 10);
            DrawString	(0, 8, "Spd:");
            DrawNum			(24, 8, tmc_spi_readregister(motor1,TMC5160_VACTUAL), 10);
            tmc_spi_readregister(motor1,TMC5160_XACTUAL);
            s_tState = UPDATA;
        }
        break;
    case UPDATA:
        if(TRUE) {
            UpdateScreen();
            s_tState = RESET;
        }
        break;
    case RESET:
        RESET_FSM() ;
        break;
    }
}
void Task_FindZero(void)
{
    static uint16_t s_whTime1, s_whTime2, s_whDelay,s_whAngleDelay;
    static enum
    {
        START  = 0,
        Delay1,
        Delay2,
        Delay3,
        RESET,
    } s_tState = START;

    switch( s_tState )
    {
    case START:
        if(TRUE == g_bFindZero)
        {
            g_bFindZero = 0;
            g_MotorControlRegister.State = 1;
            g_MotorControlRegister.Speed = -20000;
            tmc_spi_writeregister(motor1, 0xA6 - 0x80, 20000 ); 			//AMAX
            tmc_spi_writeregister(motor1, 0xA8 - 0x80, 20000 ); 			//DMAX
            s_whTime1 = g_Time_ms;
            s_tState = Delay1;
        }
        break;
    case Delay1:
        if(1)
        {
            s_whTime2 = g_Time_ms;

            if(s_whTime2 > s_whTime1) {
                s_whDelay = s_whTime2-s_whTime1;
            }
            else {
                s_whDelay = 65535+s_whTime2-s_whTime1;
            }

            if(s_whDelay > 100) {
                s_tState = Delay2;
                s_whTime1 = g_Time_ms;
                g_AngleHighSide_Old = g_AngleHighSide_New ;
            }
        }
        break;
    case Delay2:
        if(1)
        {
            s_whTime2 = g_Time_ms;

            if(s_whTime2 > s_whTime1) {
                s_whDelay = s_whTime2-s_whTime1;
            }
            else {
                s_whDelay = 65535 + s_whTime2-s_whTime1;
            }

            if(s_whDelay > 12) {

                if(g_AngleHighSide_New > g_AngleHighSide_Old) {
                    s_whAngleDelay = g_AngleHighSide_New-g_AngleHighSide_Old;
                }
                else {
                    s_whAngleDelay = 32768 + g_AngleHighSide_New - g_AngleHighSide_Old;
                }
                if(g_Speed[0] < 5) {

                    g_MotorControlRegister.State = 0;
//                    tmc_spi_writeregister(motor1, TMC5160_XACTUAL,0);
                    s_whTime1 = g_Time_ms;
                    s_tState = Delay3;
                } else {
                    s_whTime1 = g_Time_ms;
                }
                g_AngleHighSide_Old = g_AngleHighSide_New  ;
            }
        }

        break;
    case Delay3:
        if(1)
        {
            s_whTime2 = g_Time_ms;

            if(s_whTime2 > s_whTime1) {
                s_whDelay = s_whTime2-s_whTime1;
            }
            else {
                s_whDelay = 65535 + s_whTime2-s_whTime1;
            }

            if(s_whDelay > 200) {
                tmc_spi_writeregister(motor1, 0xA6 - 0x80, 3000 ); 			//AMAX
                tmc_spi_writeregister(motor1, 0xA8 - 0x80, 3000 ); 			//DMAX
                tmc_spi_writeregister(motor1, TMC5160_XACTUAL,0);
                s_tState = RESET;
            }
        }
        break;
    case RESET:

        RESET_FSM() ;

    }
}

float PIDCalculate(Pid_TypDef PID)
{
    if(PID.Err>PID.ErrLimit_Max)
        PID.Err = PID.ErrLimit_Max;

    PID.IntegralValue += PID.Err;

//    PID.ResultValue = PID.Kp*(PID.Err-PID.ErrNext)+\
//                      (PID.Ki*PID.Err)+ \
//                      PID.Kd*(PID.Err-2*PID.ErrNext+PID.ErrLast);

    PID.ResultValue = PID.Kp*PID.Err+ \
                      PID.Ki* PID.IntegralValue+ \
                      PID.Kd*(PID.Err-PID.ErrNext);

    if(PID.ResultValue>PID.ResultLimit_Max)
        PID.ResultValue = PID.ResultLimit_Max;
    else if(PID.ResultValue<PID.ResultLimit_Min)
        PID.ResultValue = PID.ResultLimit_Min;

    PID.ErrLast=PID.ErrNext;
    PID.ErrNext=PID.Err;

}

void ReadEncoder_SPI_HighSide(void)
{
    static uint16_t s_AngleHighSide_Old,i;
    static int32_t s_Speed[4],s_Temp;
    uint16_t cmd = 0,result_highside_original;
    cmd = 0x8020;
    SPI_CS_HIGH_SIDE_ENCODER_ENABLE();
    HAL_SPI_Transmit(&hspi1, (uint8_t *)&cmd, 1, 0xff);
    __HAL_SPI_DISABLE(&hspi1);
    HAL_SPI_Receive(&hspi1, (uint8_t *)&result_highside_original, 1, 0xff);
    SPI_CS_HIGH_SIDE_ENCODER_DISABLE();
 		if(g_AngleHighSide_New < g_AngleHighSide_Threshold)
		{
			g_AngleHighSide_New = result_highside_original& 0x7fff;
			if(g_AngleHighSide_New > 32768 - g_AngleHighSide_Threshold)
				g_AngleHighSide_Circle --;
		}
		else if(g_AngleHighSide_New > 32768 - g_AngleHighSide_Threshold)
		{
			g_AngleHighSide_New = result_highside_original& 0x7fff;
			if(g_AngleHighSide_New < g_AngleHighSide_Threshold)
				g_AngleHighSide_Circle ++;
		}
		else
			g_AngleHighSide_New = result_highside_original& 0x7fff;
		g_AngleHighSide_All = ((int)g_AngleHighSide_Circle) * 32768 + g_AngleHighSide_New;
}

uint8_t read_button_GPIO(uint8_t button_id)
{
    // you can share the GPIO read function with multiple Buttons
    switch(button_id)
    {
    case btn1_id:
        return !(HAL_GPIO_ReadPin(KEY1_GPIO_Port, KEY1_Pin));

//			break;

    case btn2_id:
        return !(HAL_GPIO_ReadPin(KEY2_GPIO_Port, KEY2_Pin));

//			break;

    default:
        return 0;
//			break;
    }
}

void Task_Detection(void)
{
    static uint16_t s_whTime1, s_whTime2, s_whDelay;
    static enum
    {
        START  = 0,
        Delay1,
        Delay2,
        Delay3,
        RESET,
    } s_tState = START;

    switch( s_tState )
    {
    case START:
        if(TRUE == g_MotorControlRegister.State)
        {
            s_whTime1 = g_Time_ms;
            s_tState = Delay1;
        }
        break;
    case Delay1:
        if(1)
        {
            s_whTime2 = g_Time_ms;

            if(s_whTime2 > s_whTime1) {
                s_whDelay = s_whTime2-s_whTime1;
            }
            else {
                s_whDelay = 65535+s_whTime2-s_whTime1;
            }

            if(s_whDelay > 100) {
                s_tState = Delay2;
                s_whTime1 = g_Time_ms;
            }
        }
        break;
    case Delay2:
        if(1)
        {
            s_whTime2 = g_Time_ms;

            if(s_whTime2 > s_whTime1) {
                s_whDelay = s_whTime2-s_whTime1;
            }
            else {
                s_whDelay = 65535 + s_whTime2-s_whTime1;
            }

            if(s_whDelay > 4) {
                if(g_Speed[0] < 12) {
                    s_whTime1 = g_Time_ms;
                    s_tState = Delay3;
                } else {
                    s_whTime1 = g_Time_ms;
                }
            }
        }

        break;
    case Delay3:
        if(1)
        {
            s_whTime2 = g_Time_ms;

            if(s_whTime2 > s_whTime1) {
                s_whDelay = s_whTime2-s_whTime1;
            }
            else {
                s_whDelay = 65535 + s_whTime2-s_whTime1;
            }
            if(s_whDelay > 4) {
                if(g_Speed[0] < 12) {

                    g_MotorControlRegister.State = 0;
                    s_tState = RESET;
                } else {
                    s_whTime1 = g_Time_ms;
                }
            }
        }
        break;
    case RESET:

        RESET_FSM() ;

    }
}

void Task_Key(void)
{
//    static uint16_t s_whTime1, s_whTime2, s_whDelay;
    static enum
    {
        START  = 0,
        MISSION,
        RESET,
    } s_tState = START;

    switch( s_tState )
    {
    case START:
        if(TRUE)
        {
            s_tState = MISSION;
        }

    case MISSION:
        if(TRUE)
        {
            button_ticks();
            s_tState = RESET;
        }

        break;

    case RESET:
        RESET_FSM() ;
    }
}
void BTN1_PRESS_DOWN_Handler(void* btn) {}
void BTN1_PRESS_UP_Handler(void* btn) {}
void BTN1_PRESS_REPEAT_Handler(void* btn) {}
void BTN1_SINGLE_Click_Handler(void* btn) {}
void BTN1_DOUBLE_Click_Handler(void* btn) {}
void BTN1_LONG_PRESS_START_Handler(void* btn) {}
void BTN1_LONG_PRESS_HOLD_Handler(void* btn) {}

void BTN2_PRESS_DOWN_Handler(void* btn) {}
void BTN2_PRESS_UP_Handler(void* btn) {}
void BTN2_PRESS_REPEAT_Handler(void* btn) {}
void BTN2_SINGLE_Click_Handler(void* btn) {}
void BTN2_DOUBLE_Click_Handler(void* btn) {}
void BTN2_LONG_PRESS_START_Handler(void* btn) {}
void BTN2_LONG_PRESS_HOLD_Handler(void* btn) {}
/* USER CODE END 4 */

void Error_Handler(void)
{
    __disable_irq();
    while (1)
    {
    }
}

/************************ (C) COPYRIGHT STMicroelectronics *****END OF FILE****/
